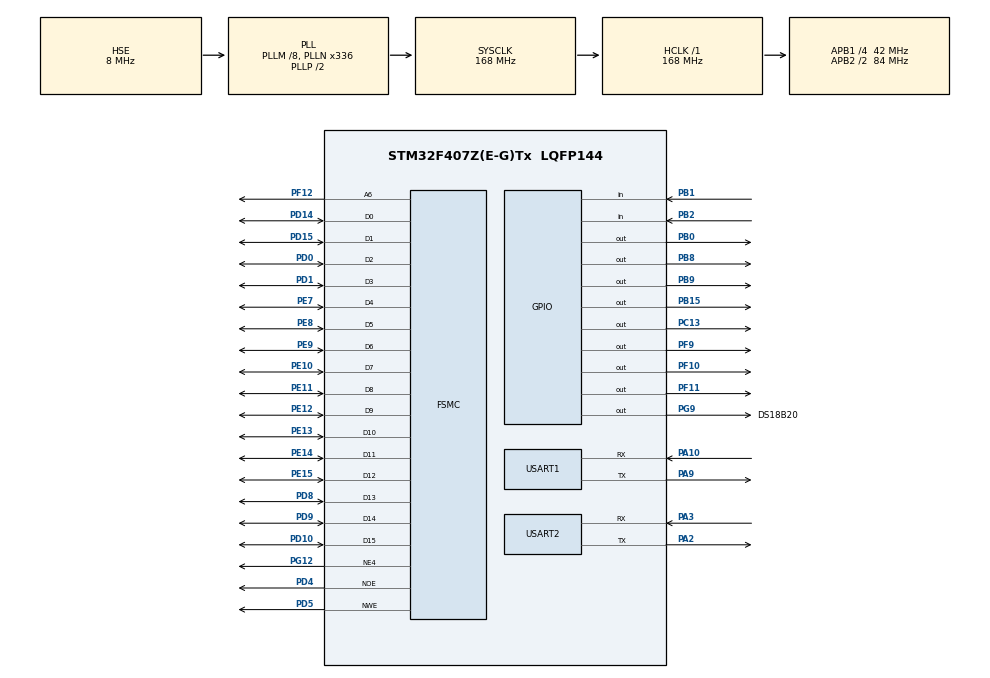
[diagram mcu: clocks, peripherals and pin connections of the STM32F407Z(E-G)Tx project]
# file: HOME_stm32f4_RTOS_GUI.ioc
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FREERTOS.Tasks01=emWinGUI_task,0,512,emWinGUI_Task,Default,NULL,Dynamic,NULL,NULL;touch_Task,-3,512,Start_LCD_Task,Default,NULL,Dynamic,NULL,NULL;ESP_Task,-3,800,ESP8266_Task,Default,NULL,Dynamic,NULL,NULL;Touch_Task04,-3,256,TouchTask,Default,NULL,Dynamic,NULL,NULL
FSMC.AddressSetupTime1=5
FSMC.BusTurnAroundDuration1=5
FSMC.DataSetupTime1=60
Mcu.Family=STM32F4
Mcu.Name=STM32F407Z(E-G)Tx
Mcu.Package=LQFP144
NVIC.PriorityGroup=NVIC_PRIORITYGROUP_4
NVIC.TIM2_IRQn=true\:0\:0\:false\:false\:true\:false\:false\:true
NVIC.TimeBase=TIM2_IRQn
NVIC.TimeBaseIP=TIM2
NVIC.USART2_IRQn=true\:5\:0\:false\:false\:true\:true\:true\:true
PA10.Mode=Asynchronous
PA10.Signal=USART1_RX
PA13.Mode=Serial_Wire
PA13.Signal=SYS_JTMS-SWDIO
PA14.Mode=Serial_Wire
PA14.Signal=SYS_JTCK-SWCLK
PA2.Mode=Asynchronous
PA2.Signal=USART2_TX
PA3.Mode=Asynchronous
PA3.Signal=USART2_RX
PA9.Mode=Asynchronous
PA9.Signal=USART1_TX
PB0.GPIO_PuPd=GPIO_PULLUP
PB0.GPIO_Speed=GPIO_SPEED_FREQ_HIGH
PB0.PinState=GPIO_PIN_SET
PB0.Signal=GPIO_Output
PB1.GPIO_PuPd=GPIO_PULLUP
PB1.Signal=GPIO_Input
PB15.Signal=GPIO_Output
PB2.GPIO_PuPd=GPIO_PULLUP
PB2.Signal=GPIO_Input
PB8.GPIO_PuPd=GPIO_PULLUP
PB8.GPIO_Speed=GPIO_SPEED_FREQ_MEDIUM
PB8.PinState=GPIO_PIN_SET
PB8.Signal=GPIO_Output
PB9.GPIO_PuPd=GPIO_PULLUP
PB9.GPIO_Speed=GPIO_SPEED_FREQ_MEDIUM
PB9.PinState=GPIO_PIN_SET
PB9.Signal=GPIO_Output
PC13-ANTI_TAMP.GPIO_PuPd=GPIO_PULLUP
PC13-ANTI_TAMP.PinState=GPIO_PIN_SET
PC13-ANTI_TAMP.Signal=GPIO_Output
PD0.Signal=FSMC_D2_DA2
PD1.Signal=FSMC_D3_DA3
PD10.Signal=FSMC_D15_DA15
PD14.Signal=FSMC_D0_DA0
PD15.Signal=FSMC_D1_DA1
PD4.Signal=FSMC_NOE
PD5.Signal=FSMC_NWE
PD8.Signal=FSMC_D13_DA13
PD9.Signal=FSMC_D14_DA14
PE10.Signal=FSMC_D7_DA7
PE11.Signal=FSMC_D8_DA8
PE12.Signal=FSMC_D9_DA9
PE13.Signal=FSMC_D10_DA10
PE14.Signal=FSMC_D11_DA11
PE15.Signal=FSMC_D12_DA12
PE7.Signal=FSMC_D4_DA4
PE8.Signal=FSMC_D5_DA5
PE9.Signal=FSMC_D6_DA6
PF10.Signal=GPIO_Output
PF11.GPIO_PuPd=GPIO_PULLUP
PF11.GPIO_Speed=GPIO_SPEED_FREQ_HIGH
PF11.PinState=GPIO_PIN_SET
PF11.Signal=GPIO_Output
PF12.GPIO_Speed_High_Default=GPIO_SPEED_FREQ_HIGH
PF12.Signal=FSMC_A6
PF9.Signal=GPIO_Output
PG12.Mode=NorPsramChipSelect4_1
PG12.Signal=FSMC_NE4
PG9.GPIO_Label=DS18B20
PG9.GPIO_PuPd=GPIO_PULLUP
PG9.GPIO_Speed=GPIO_SPEED_FREQ_MEDIUM
PG9.PinState=GPIO_PIN_RESET
PG9.Signal=GPIO_Output
PH0-OSC_IN.Mode=HSE-External-Oscillator
PH0-OSC_IN.Signal=RCC_OSC_IN
PH1-OSC_OUT.Mode=HSE-External-Oscillator
PH1-OSC_OUT.Signal=RCC_OSC_OUT
ProjectManager.HeapSize=0x400
ProjectManager.StackSize=0x800
ProjectManager.TargetToolchain=MDK-ARM V5
RCC.48MHZClocksFreq_Value=84000000
RCC.AHBFreq_Value=168000000
RCC.APB1CLKDivider=RCC_HCLK_DIV4
RCC.APB1Freq_Value=42000000
RCC.APB1TimFreq_Value=84000000
RCC.APB2CLKDivider=RCC_HCLK_DIV2
RCC.APB2Freq_Value=84000000
RCC.APB2TimFreq_Value=168000000
RCC.CortexFreq_Value=168000000
RCC.HCLKFreq_Value=168000000
RCC.HSE_VALUE=8000000
RCC.HSICalibrationValue=16
RCC.HSI_VALUE=16000000
RCC.LSE_VALUE=32768
RCC.PLLM=8
RCC.PLLN=336
RCC.PLLSourceVirtual=RCC_PLLSOURCE_HSE
RCC.SYSCLKFreq_VALUE=168000000
RCC.SYSCLKSource=RCC_SYSCLKSOURCE_PLLCLK
RCC.VCOOutputFreq_Value=336000000
SH.FSMC_A6.0=FSMC_A6,A6_1
SH.FSMC_D0_DA0.0=FSMC_D0,16b-d1
SH.FSMC_D10_DA10.0=FSMC_D10,16b-d1
SH.FSMC_D11_DA11.0=FSMC_D11,16b-d1
SH.FSMC_D12_DA12.0=FSMC_D12,16b-d1
SH.FSMC_D13_DA13.0=FSMC_D13,16b-d1
SH.FSMC_D14_DA14.0=FSMC_D14,16b-d1
SH.FSMC_D15_DA15.0=FSMC_D15,16b-d1
SH.FSMC_D1_DA1.0=FSMC_D1,16b-d1
SH.FSMC_D2_DA2.0=FSMC_D2,16b-d1
SH.FSMC_D3_DA3.0=FSMC_D3,16b-d1
SH.FSMC_D4_DA4.0=FSMC_D4,16b-d1
SH.FSMC_D5_DA5.0=FSMC_D5,16b-d1
SH.FSMC_D6_DA6.0=FSMC_D6,16b-d1
SH.FSMC_D7_DA7.0=FSMC_D7,16b-d1
SH.FSMC_D8_DA8.0=FSMC_D8,16b-d1
SH.FSMC_D9_DA9.0=FSMC_D9,16b-d1
SH.FSMC_NOE.0=FSMC_NOE,Lcd1
SH.FSMC_NWE.0=FSMC_NWE,Lcd1
USART1.VirtualMode=VM_ASYNC
USART2.VirtualMode=VM_ASYNC
VP_CRC_VS_CRC.Mode=CRC_Activate
VP_FREERTOS_VS_CMSIS_V1.Mode=CMSIS_V1
VP_RTC_VS_RTC_Activate.Mode=RTC_Enabled
VP_RTC_VS_RTC_Calendar.Mode=RTC_Calendar
VP_SYS_VS_tim2.Mode=TIM2
board=custom

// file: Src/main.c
/* USER CODE BEGIN Header */
/**
  ******************************************************************************
  * @file           : main.c
  * @brief          : Main program body
  ******************************************************************************
  * @attention
  *
  * <h2><center>&copy; Copyright (c) 2019 STMicroelectronics.
  * All rights reserved.</center></h2>
  *
  * This software component is licensed by ST under Ultimate Liberty license
  * SLA0044, the "License"; You may not use this file except in compliance with
  * the License. You may obtain a copy of the License at:
  *                             www.st.com/SLA0044
  *
  ******************************************************************************
  */
/* USER CODE END Header */

#include "main.h"
#include "cmsis_os.h"
#include "crc.h"
#include "rtc.h"
#include "usart.h"
#include "gpio.h"
#include "fsmc.h"

/* USER CODE BEGIN Includes */
#include "lcd_config.h"
#include "touch.h"
#include "GUI.h"
#include "DIALOG.h"
#include "wkup.h"
#include "string.h"
#include "cJSON.h"
/* USER CODE END Includes */

/* USER CODE BEGIN PTD */
uint8_t my_re_buf[500];
uint16_t pt=0;
uint8_t aRxBuffer2;			//接收中断缓冲2

char RST_Start[]="AT+RST\r\n";
char MODE_Start[]="AT+CWMODE=1\r\n";
char WIFI_Start[]="AT+CWJAP=\"HUAWEI-3AHFVD\",\"13550695909\"\r\n";
char Connected_Start[]="AT+CIPMUX=0\r\n";
char TCP_Start[]="AT+CIPSTART=\"TCP\",\"api.seniverse.com\",80\r\n";
char TX_Start[]="AT+CIPMODE=1\r\n";
char Data[]="AT+CIPSEND\r\n";
char TX_Data[]="GET https://api.seniverse.com/v3/weather/now.json?key=SG_ckZ26xPfp8E2EK&location=chengdu&language=zh-Hans&unit=c\r\n";
char Recive[5];
char Recive2[5];

cJSON *json;
cJSON *Array_obj1;
cJSON *Array_obj2;
cJSON *Array_obj3;
cJSON *Array_obj4;
cJSON *Array;

RTC_DateTypeDef GetData;  //获取日期结构体

RTC_TimeTypeDef GetTime;   //获取时间结构体
/* USER CODE END PTD */

void SystemClock_Config(void);
void MX_FREERTOS_Init(void);
/* USER CODE BEGIN PFP */
void FreeRTOS_command(char Command_AT[])
{
	int Lenth=strlen(Command_AT);
	HAL_UART_Transmit(&huart2,(uint8_t*)Command_AT,Lenth,0xff);
	printf("%s",Command_AT);
	osDelay(3500);
}

void FreeROTS_ESP8266_Init(void)
{
	FreeRTOS_command(WIFI_Start);
	FreeRTOS_command(Connected_Start);
	FreeRTOS_command(TCP_Start);
	FreeRTOS_command(TX_Start);
	FreeRTOS_command(Data);
}
/* USER CODE END PFP */

int main(void)
{

  /* MCU Configuration--------------------------------------------------------*/

  /* Reset of all peripherals, Initializes the Flash interface and the Systick. */
  HAL_Init();

  /* Configure the system clock */
  SystemClock_Config();

  /* Initialize all configured peripherals */
  MX_GPIO_Init();
  MX_FSMC_Init();
  MX_CRC_Init();
  MX_RTC_Init();
  MX_USART1_UART_Init();
  MX_USART2_UART_Init();
  /* USER CODE BEGIN 2 */
	//delay_init(168);
	HAL_GPIO_WritePin(GPIOF,GPIO_PIN_9|GPIO_PIN_10,GPIO_PIN_SET);
	WKUP_Init();
	LCD_Config_Init();
	TP_Init();
//	GUI_Init();
	HAL_UART_Receive_IT(&huart2, (uint8_t *)&aRxBuffer2, 1);
  /* USER CODE END 2 */

  /* Call init function for freertos objects (in freertos.c) */
  MX_FREERTOS_Init();

  /* Start scheduler */
  osKernelStart();

  /* We should never get here as control is now taken by the scheduler */

  /* Infinite loop */
  while (1)
  {

  }
}

void SystemClock_Config(void)
{
  RCC_OscInitTypeDef RCC_OscInitStruct = {0};
  RCC_ClkInitTypeDef RCC_ClkInitStruct = {0};
  RCC_PeriphCLKInitTypeDef PeriphClkInitStruct = {0};

  /** Configure the main internal regulator output voltage
  */
  __HAL_RCC_PWR_CLK_ENABLE();
  __HAL_PWR_VOLTAGESCALING_CONFIG(PWR_REGULATOR_VOLTAGE_SCALE1);
  /** Initializes the CPU, AHB and APB busses clocks
  */
  RCC_OscInitStruct.OscillatorType = RCC_OSCILLATORTYPE_LSI|RCC_OSCILLATORTYPE_HSE;
  RCC_OscInitStruct.HSEState = RCC_HSE_ON;
  RCC_OscInitStruct.LSIState = RCC_LSI_ON;
  RCC_OscInitStruct.PLL.PLLState = RCC_PLL_ON;
  RCC_OscInitStruct.PLL.PLLSource = RCC_PLLSOURCE_HSE;
  RCC_OscInitStruct.PLL.PLLM = 8;
  RCC_OscInitStruct.PLL.PLLN = 336;
  RCC_OscInitStruct.PLL.PLLP = RCC_PLLP_DIV2;
  RCC_OscInitStruct.PLL.PLLQ = 4;
  if (HAL_RCC_OscConfig(&RCC_OscInitStruct) != HAL_OK)
  {
    Error_Handler();
  }
  /** Initializes the CPU, AHB and APB busses clocks
  */
  RCC_ClkInitStruct.ClockType = RCC_CLOCKTYPE_HCLK|RCC_CLOCKTYPE_SYSCLK
                              |RCC_CLOCKTYPE_PCLK1|RCC_CLOCKTYPE_PCLK2;
  RCC_ClkInitStruct.SYSCLKSource = RCC_SYSCLKSOURCE_PLLCLK;
  RCC_ClkInitStruct.AHBCLKDivider = RCC_SYSCLK_DIV1;
  RCC_ClkInitStruct.APB1CLKDivider = RCC_HCLK_DIV4;
  RCC_ClkInitStruct.APB2CLKDivider = RCC_HCLK_DIV2;

  if (HAL_RCC_ClockConfig(&RCC_ClkInitStruct, FLASH_LATENCY_5) != HAL_OK)
  {
    Error_Handler();
  }
  PeriphClkInitStruct.PeriphClockSelection = RCC_PERIPHCLK_RTC;
  PeriphClkInitStruct.RTCClockSelection = RCC_RTCCLKSOURCE_LSI;
  if (HAL_RCCEx_PeriphCLKConfig(&PeriphClkInitStruct) != HAL_OK)
  {
    Error_Handler();
  }
}

/* USER CODE BEGIN 4 */
void HAL_UART_RxCpltCallback(UART_HandleTypeDef *huart)
{
	UNUSED(huart);

	if(huart==&huart2)
	{
		my_re_buf[pt++]=aRxBuffer2;

		HAL_UART_Receive_IT(&huart2, (uint8_t *)&aRxBuffer2, 1);
	}

}
/* USER CODE END 4 */

void HAL_TIM_PeriodElapsedCallback(TIM_HandleTypeDef *htim)
{
  if (htim->Instance == TIM2) {
    HAL_IncTick();
  }
}

void Error_Handler(void)
{
}

/************************ (C) COPYRIGHT STMicroelectronics *****END OF FILE****/
